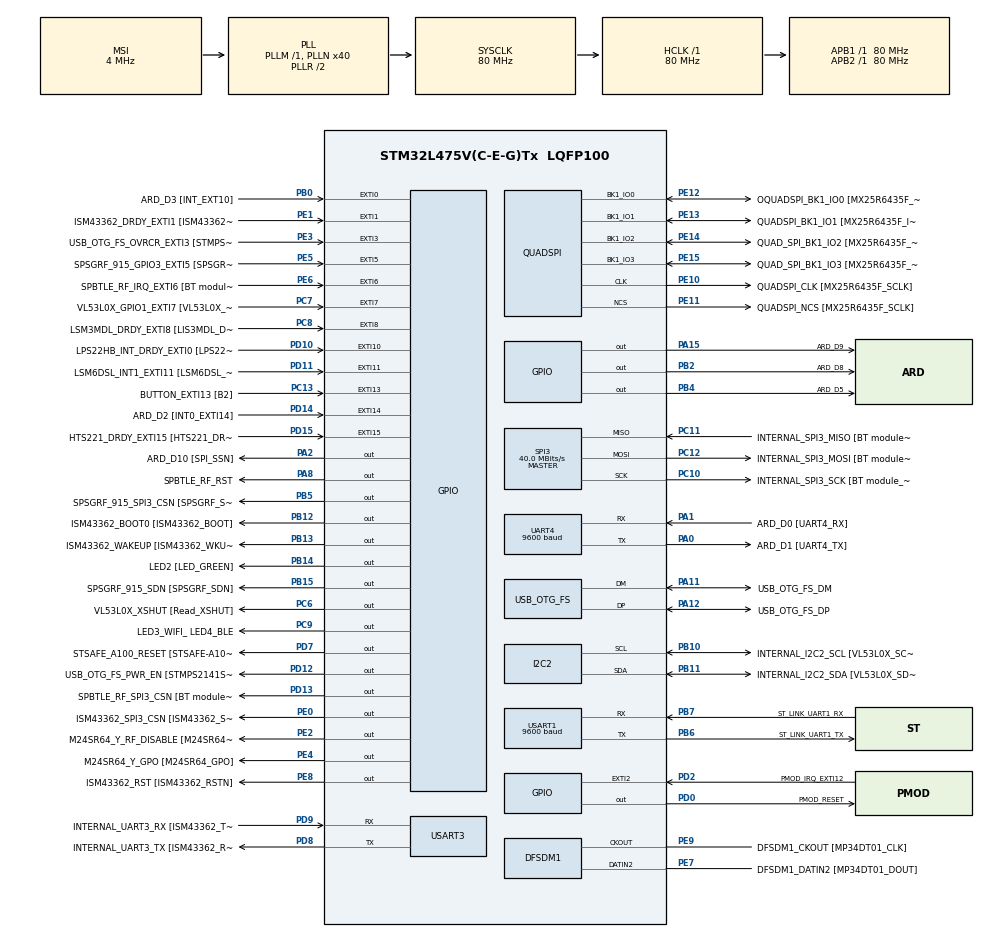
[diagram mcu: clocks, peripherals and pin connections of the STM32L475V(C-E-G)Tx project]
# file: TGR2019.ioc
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Mcu.Family=STM32L4
Mcu.Name=STM32L475V(C-E-G)Tx
Mcu.Package=LQFP100
NVIC.EXTI15_10_IRQn=true\:0\:0\:false\:false\:true\:true
NVIC.EXTI9_5_IRQn=true\:0\:0\:false\:false\:true\:true
NVIC.PriorityGroup=NVIC_PRIORITYGROUP_4
NVIC.TIM6_DAC_IRQn=true\:1\:0\:true\:false\:true\:true
NVIC.UART4_IRQn=true\:2\:0\:true\:false\:true\:true
NVIC.USART1_IRQn=true\:2\:0\:true\:false\:true\:true
PA0.GPIO_Label=ARD_D1 [UART4_TX]
PA0.Mode=Asynchronous
PA0.Signal=UART4_TX
PA1.GPIO_Label=ARD_D0 [UART4_RX]
PA1.Mode=Asynchronous
PA1.Signal=UART4_RX
PA10.GPIO_Label=USB_OTG_FS_ID
PA10.Signal=USB_OTG_FS_ID
PA11.GPIO_Label=USB_OTG_FS_DM
PA11.Mode=Device_Only
PA11.Signal=USB_OTG_FS_DM
PA12.GPIO_Label=USB_OTG_FS_DP
PA12.Mode=Device_Only
PA12.Signal=USB_OTG_FS_DP
PA13\ (JTMS-SWDIO).GPIO_Label=SYS_JTMS_SWDIO
PA13\ (JTMS-SWDIO).Mode=Serial_Wire
PA13\ (JTMS-SWDIO).Signal=SYS_JTMS-SWDIO
PA14\ (JTCK-SWCLK).GPIO_Label=SYS_JTCK_SWCLK
PA14\ (JTCK-SWCLK).Mode=Serial_Wire
PA14\ (JTCK-SWCLK).Signal=SYS_JTCK-SWCLK
PA15\ (JTDI).GPIO_Label=ARD_D9
PA15\ (JTDI).Signal=GPIO_Output
PA2.GPIO_Label=ARD_D10 [SPI_SSN]
PA2.Signal=GPIO_Output
PA3.GPIO_Label=ARD_D4
PA3.Signal=S_TIM2_CH4
PA4.GPIO_Label=ARD_D7
PA4.Signal=ADCx_IN9
PA5.GPIO_Label=ARD_D13 [SPI1_SCK]
PA5.Signal=SPI1_SCK
PA6.GPIO_Label=ARD_D12 [SPI1_MISO]
PA6.Signal=SPI1_MISO
PA7.GPIO_Label=ARD_D11 [SPI1_MOSI]
PA7.Signal=SPI1_MOSI
PA8.GPIO_Label=SPBTLE_RF_RST
PA8.Signal=GPIO_Output
PA9.GPIO_Label=USB_OTG_FS_VBUS [STMPS2141STR_OUT]
PA9.Signal=USB_OTG_FS_VBUS
PB0.GPIO_Label=ARD_D3 [INT_EXT10]
PB0.Signal=GPXTI0
PB1.GPIO_Label=ARD_D6 [ADC1_IN6]
PB1.Signal=ADCx_IN16
PB10.GPIO_Label=INTERNAL_I2C2_SCL [VL53L0X_SCL]
PB10.Mode=I2C
PB10.Signal=I2C2_SCL
PB11.GPIO_Label=INTERNAL_I2C2_SDA [VL53L0X_SDA]
PB11.Mode=I2C
PB11.Signal=I2C2_SDA
PB12.GPIO_Label=ISM43362_BOOT0 [ISM43362_BOOT]
PB12.Signal=GPIO_Output
PB13.GPIO_Label=ISM43362_WAKEUP [ISM43362_WKUP]
PB13.Signal=GPIO_Output
PB14.GPIO_Label=LED2 [LED_GREEN]
PB14.Signal=GPIO_Output
PB15.GPIO_Label=SPSGRF_915_SDN [SPSGRF_SDN]
PB15.Signal=GPIO_Output
PB2.GPIO_Label=ARD_D8
PB2.Signal=GPIO_Output
PB3\ (JTDO-TRACESWO).GPIO_Label=SYS_JTD0_SWO
PB3\ (JTDO-TRACESWO).Signal=SYS_JTDO-SWO
PB4\ (NJTRST).GPIO_Label=ARD_D5
PB4\ (NJTRST).Signal=GPIO_Output
PB5.GPIO_Label=SPSGRF_915_SPI3_CSN [SPSGRF_SPI_CS]
PB5.Signal=GPIO_Output
PB6.GPIO_Label=ST_LINK_UART1_TX
PB6.Mode=Asynchronous
PB6.Signal=USART1_TX
PB7.GPIO_Label=ST_LINK_UART1_RX
PB7.Mode=Asynchronous
PB7.Signal=USART1_RX
PB8.GPIO_Label=ARD_D15 [I2C1_SCL]
PB8.Signal=I2C1_SCL
PB9.GPIO_Label=ARD_D14 [I2C1_SDA]
PB9.Signal=I2C1_SDA
PC0.GPIO_Label=ARD_A5 [ADC]
PC0.Signal=ADCx_IN1
PC1.GPIO_Label=ARD_A4 [ADC]
PC1.Signal=ADCx_IN2
PC10.GPIO_Label=INTERNAL_SPI3_SCK [BT module_SPI_SCLK]
PC10.Mode=Full_Duplex_Master
PC10.Signal=SPI3_SCK
PC11.GPIO_Label=INTERNAL_SPI3_MISO [BT module_SPI_MISO]
PC11.Mode=Full_Duplex_Master
PC11.Signal=SPI3_MISO
PC12.GPIO_Label=INTERNAL_SPI3_MOSI [BT module_SPI_MOSI]
PC12.Mode=Full_Duplex_Master
PC12.Signal=SPI3_MOSI
PC13.GPIO_Label=BUTTON_EXTI13 [B2]
PC13.GPIO_ModeDefaultEXTI=GPIO_MODE_IT_FALLING
PC13.Signal=GPXTI13
PC14-OSC32_IN\ (PC14).Mode=LSE-External-Oscillator
PC14-OSC32_IN\ (PC14).Signal=RCC_OSC32_IN
PC15-OSC32_OUT\ (PC15).Mode=LSE-External-Oscillator
PC15-OSC32_OUT\ (PC15).Signal=RCC_OSC32_OUT
PC2.GPIO_Label=ARD_A3 [ADC]
PC2.Signal=ADCx_IN3
PC3.GPIO_Label=ARD_A2 [ADC]
PC3.Signal=ADCx_IN4
PC4.GPIO_Label=ARD_A1 [ADC]
PC4.Signal=ADCx_IN13
PC5.GPIO_Label=ARD_A0 [ADC]
PC5.Signal=ADCx_IN14
PC6.GPIO_Label=VL53L0X_XSHUT [Read_XSHUT]
PC6.Signal=GPIO_Output
PC7.GPIO_Label=VL53L0X_GPIO1_EXTI7 [VL53L0X_GPIO1]
PC7.Signal=GPXTI7
PC8.GPIO_Label=LSM3MDL_DRDY_EXTI8 [LIS3MDL_DRDY]
PC8.Signal=GPXTI8
PC9.GPIO_Label=LED3_WIFI_ LED4_BLE
PC9.Signal=GPIO_Output
PD0.GPIO_Label=PMOD_RESET
PD0.Signal=GPIO_Output
PD1.GPIO_Label=PMOD_SPI2_SCK
PD1.Signal=SPI2_SCK
PD10.GPIO_Label=LPS22HB_INT_DRDY_EXTI0 [LPS22HB_INT_DRDY] 
PD10.Signal=GPXTI10
PD11.GPIO_Label=LSM6DSL_INT1_EXTI11 [LSM6DSL_INT1]
PD11.Signal=GPXTI11
PD12.GPIO_Label=USB_OTG_FS_PWR_EN [STMPS2141STR_EN]
PD12.Signal=GPIO_Output
PD13.GPIO_Label=SPBTLE_RF_SPI3_CSN [BT module_SPI_CS]
PD13.Signal=GPIO_Output
PD14.GPIO_Label=ARD_D2 [INT0_EXTI14]
PD14.Signal=GPXTI14
PD15.GPIO_Label=HTS221_DRDY_EXTI15 [HTS221_DRDY]
PD15.Signal=GPXTI15
PD2.GPIO_Label=PMOD_IRQ_EXTI12
PD2.Signal=GPXTI2
PD3.GPIO_Label=PMOD_UART2_CTS
PD3.Signal=USART2_CTS
PD4.GPIO_Label=PMOD_UART2_RTS
PD4.Signal=USART2_RTS
PD5.GPIO_Label=PMOD_UART2_TX
PD5.Signal=USART2_TX
PD6.GPIO_Label=PMOD_UART2_RX
PD6.Signal=USART2_RX
PD7.GPIO_Label=STSAFE_A100_RESET [STSAFE-A100_RESET]
PD7.Signal=GPIO_Output
PD8.GPIO_Label=INTERNAL_UART3_TX [ISM43362_RX]
PD8.Mode=Asynchronous
PD8.Signal=USART3_TX
PD9.GPIO_Label=INTERNAL_UART3_RX [ISM43362_TX]
PD9.Mode=Asynchronous
PD9.Signal=USART3_RX
PE0.GPIO_Label=ISM43362_SPI3_CSN [ISM43362_SSN]
PE0.Signal=GPIO_Output
PE1.GPIO_Label=ISM43362_DRDY_EXTI1 [ISM43362_DATARDY]
PE1.Signal=GPXTI1
PE10.GPIO_Label=QUADSPI_CLK [MX25R6435F_SCLK]
PE10.Mode=Single Bank
PE10.Signal=QUADSPI_CLK
PE11.GPIO_Label=QUADSPI_NCS [MX25R6435F_SCLK]
PE11.Mode=Single Bank
PE11.Signal=QUADSPI_NCS
PE12.GPIO_Label=OQUADSPI_BK1_IO0 [MX25R6435F_IO0]
PE12.Mode=Single Bank
PE12.Signal=QUADSPI_BK1_IO0
PE13.GPIO_Label=QUADSPI_BK1_IO1 [MX25R6435F_IO1]
PE13.Mode=Single Bank
PE13.Signal=QUADSPI_BK1_IO1
PE14.GPIO_Label=QUAD_SPI_BK1_IO2 [MX25R6435F_IO2]
PE14.Mode=Single Bank
PE14.Signal=QUADSPI_BK1_IO2
PE15.GPIO_Label=QUAD_SPI_BK1_IO3 [MX25R6435F_IO3]
PE15.Mode=Single Bank
PE15.Signal=QUADSPI_BK1_IO3
PE2.GPIO_Label=M24SR64_Y_RF_DISABLE [M24SR64_RFDIS]
PE2.Signal=GPIO_Output
PE3.GPIO_Label=USB_OTG_FS_OVRCR_EXTI3 [STMPS2141STR_FAULT]
PE3.Signal=GPXTI3
PE4.GPIO_Label=M24SR64_Y_GPO [M24SR64_GPO]
PE4.Signal=GPIO_Output
PE5.GPIO_Label=SPSGRF_915_GPIO3_EXTI5 [SPSGRF_GPIO_3]
PE5.Signal=GPXTI5
PE6.GPIO_Label=SPBTLE_RF_IRQ_EXTI6 [BT module_SPI_IRQ]
PE6.Signal=GPXTI6
PE7.GPIO_Label=DFSDM1_DATIN2 [MP34DT01_DOUT]
PE7.Signal=S_DATAIN2DFSDM1
PE8.GPIO_Label=ISM43362_RST [ISM43362_RSTN]
PE8.Signal=GPIO_Output
PE9.GPIO_Label=DFSDM1_CKOUT [MP34DT01_CLK]
PE9.Signal=S_CKOUTDFSDM1
ProjectManager.HeapSize=0x200
ProjectManager.StackSize=0x400
ProjectManager.TargetToolchain=TrueSTUDIO
RCC.ADCFreq_Value=48000000
RCC.AHBFreq_Value=80000000
RCC.APB1Freq_Value=80000000
RCC.APB1TimFreq_Value=80000000
RCC.APB2Freq_Value=80000000
RCC.APB2TimFreq_Value=80000000
RCC.CortexFreq_Value=80000000
RCC.HCLKFreq_Value=80000000
RCC.HSE_VALUE=8000000
RCC.HSI_VALUE=16000000
RCC.MSI_VALUE=4000000
RCC.PLLN=40
RCC.PLLSAI1N=24
RCC.SYSCLKFreq_VALUE=80000000
RCC.SYSCLKSource=RCC_SYSCLKSOURCE_PLLCLK
RCC.USBFreq_Value=48000000
RCC.VCOOutputFreq_Value=160000000
SH.ADCx_IN1.0=ADC1_IN1
SH.ADCx_IN13.0=ADC1_IN13
SH.ADCx_IN14.0=ADC1_IN14
SH.ADCx_IN16.0=ADC1_IN16
SH.ADCx_IN2.0=ADC1_IN2
SH.ADCx_IN3.0=ADC1_IN3
SH.ADCx_IN4.0=ADC1_IN4
SH.ADCx_IN9.0=ADC1_IN9
SH.S_CKOUTDFSDM1.0=DFSDM1_CKOUT,CKOUT
SH.S_CKOUTDFSDM1.1=DFSDM1_CKOUT,PDM_SPI_Input_from_ch12_and_Internal_Clock
SH.S_DATAIN2DFSDM1.0=DFSDM1_DATIN2,PDM_SPI_Input_from_ch12_and_Internal_Clock
SH.S_TIM2_CH4.0=TIM2_CH4
SPI3.CalculateBaudRate=40.0 MBits/s
SPI3.Direction=SPI_DIRECTION_2LINES
SPI3.Mode=SPI_MODE_MASTER
SPI3.VirtualType=VM_MASTER
TIM6.Period=48000
TIM6.Prescaler=49999
UART4.BaudRate=9600
USART1.BaudRate=9600
USART1.VirtualMode-Asynchronous=VM_ASYNC
USART3.VirtualMode-Asynchronous=VM_ASYNC
USB_OTG_FS.VirtualMode=Device_Only
VP_TIM6_VS_ClockSourceINT.Mode=Enable_Timer
board=B-L475E-IOT01A

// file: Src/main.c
/* USER CODE BEGIN Header */
/**
  ******************************************************************************
  * @file           : main.c
  * @brief          : Main program body
  ******************************************************************************
  ** This notice applies to any and all portions of this file
  * that are not between comment pairs USER CODE BEGIN and
  * USER CODE END. Other portions of this file, whether
  * inserted by the user or by software development tools
  * are owned by their respective copyright owners.
  *
  * COPYRIGHT(c) 2019 STMicroelectronics
  *
  * Redistribution and use in source and binary forms, with or without modification,
  * are permitted provided that the following conditions are met:
  *   1. Redistributions of source code must retain the above copyright notice,
  *      this list of conditions and the following disclaimer.
  *   2. Redistributions in binary form must reproduce the above copyright notice,
  *      this list of conditions and the following disclaimer in the documentation
  *      and/or other materials provided with the distribution.
  *   3. Neither the name of STMicroelectronics nor the names of its contributors
  *      may be used to endorse or promote products derived from this software
  *      without specific prior written permission.
  *
  * THIS SOFTWARE IS PROVIDED BY THE COPYRIGHT HOLDERS AND CONTRIBUTORS "AS IS"
  * AND ANY EXPRESS OR IMPLIED WARRANTIES, INCLUDING, BUT NOT LIMITED TO, THE
  * IMPLIED WARRANTIES OF MERCHANTABILITY AND FITNESS FOR A PARTICULAR PURPOSE ARE
  * DISCLAIMED. IN NO EVENT SHALL THE COPYRIGHT HOLDER OR CONTRIBUTORS BE LIABLE
  * FOR ANY DIRECT, INDIRECT, INCIDENTAL, SPECIAL, EXEMPLARY, OR CONSEQUENTIAL
  * DAMAGES (INCLUDING, BUT NOT LIMITED TO, PROCUREMENT OF SUBSTITUTE GOODS OR
  * SERVICES; LOSS OF USE, DATA, OR PROFITS; OR BUSINESS INTERRUPTION) HOWEVER
  * CAUSED AND ON ANY THEORY OF LIABILITY, WHETHER IN CONTRACT, STRICT LIABILITY,
  * OR TORT (INCLUDING NEGLIGENCE OR OTHERWISE) ARISING IN ANY WAY OUT OF THE USE
  * OF THIS SOFTWARE, EVEN IF ADVISED OF THE POSSIBILITY OF SUCH DAMAGE.
  *
  ******************************************************************************
  */
/* USER CODE END Header */

#include "main.h"

/* USER CODE BEGIN Includes */
#include <stdio.h>
#include "stm32l475e_iot01.h"
#include "stm32l475e_iot01_accelero.h"
#include "stm32l475e_iot01_magneto.h"
#include "stm32l475e_iot01_gyro.h"
#include "stm32l475e_iot01_tsensor.h"
#include "stm32l475e_iot01_psensor.h"
#include "stm32l475e_iot01_hsensor.h"

/* USER CODE END Includes */

/* USER CODE BEGIN PTD */
#include "string.h"
#define LPP_DATATYPE_DIGITAL_INPUT  0x0   //0
#define LPP_DATATYPE_DIGITAL_OUTPUT 0x1   //1

#define LPP_DATATYPE_BAROMETER      0x73  //115
#define LPP_DATATYPE_TEMPERATURE    0x67  //103
#define LPP_DATATYPE_HUMIDITY       0x68  //104

#define LPP_DATATYPE_ACCELEROMETER  0x71  //113
#define LPP_DATATYPE_GYROMETER    	0x86  //134
#define LPP_DATATYPE_ANALOG_INPUT   0x2   //2
/* USER CODE END PTD */

DFSDM_Channel_HandleTypeDef hdfsdm1_channel1;

I2C_HandleTypeDef hi2c2;

QSPI_HandleTypeDef hqspi;

SPI_HandleTypeDef hspi3;

TIM_HandleTypeDef htim6;

UART_HandleTypeDef huart4;
UART_HandleTypeDef huart1;
UART_HandleTypeDef huart3;

PCD_HandleTypeDef hpcd_USB_OTG_FS;

void SystemClock_Config(void);
static void MX_GPIO_Init(void);
static void MX_DFSDM1_Init(void);
static void MX_I2C2_Init(void);
static void MX_QUADSPI_Init(void);
static void MX_SPI3_Init(void);
static void MX_USART1_UART_Init(void);
static void MX_USART3_UART_Init(void);
static void MX_USB_OTG_FS_PCD_Init(void);
static void MX_TIM6_Init(void);
static void MX_UART4_Init(void);
/* USER CODE BEGIN PFP */
static void VL53L0X_PROXIMITY_MspInit(void);
static uint16_t VL53L0X_PROXIMITY_GetDistance(void);
static void VL53L0X_PROXIMITY_Init(void);
/* USER CODE END PFP */

/* USER CODE BEGIN 0 */

extern I2C_HandleTypeDef hI2cHandler;
VL53L0X_Dev_t Dev =
{
  .I2cHandle = &hI2cHandler,
  .I2cDevAddr = PROXIMITY_I2C_ADDRESS
};

extern int PRESSURE;
extern uint16_t HUMIDITY;
extern int16_t TEMPERATURE;

extern int16_t pDataXYZ[3];
extern float pfDataXYZ[3];
extern int16_t pDataXYZ1[3];
extern uint16_t prox_value;
extern uint16_t in_people,out_people;
uint16_t buff_in,buff_out = 0;

/* Private function prototypes -----------------------------------------------*/
//static void VL53L0X_PROXIMITY_MspInit(void);
//static uint16_t VL53L0X_PROXIMITY_GetDistance(void);
//static void VL53L0X_PROXIMITY_Init(void);
/* Private functions ---------------------------------------------------------*/
/* USER CODE END 0 */

int main(void)
{

  /* MCU Configuration--------------------------------------------------------*/

  /* Reset of all peripherals, Initializes the Flash interface and the Systick. */
  HAL_Init();

  /* Configure the system clock */
  SystemClock_Config();

  /* Initialize all configured peripherals */
  MX_GPIO_Init();
  MX_DFSDM1_Init();
  MX_I2C2_Init();
  MX_QUADSPI_Init();
  MX_SPI3_Init();
  MX_USART1_UART_Init();
  MX_USART3_UART_Init();
  MX_USB_OTG_FS_PCD_Init();
  MX_TIM6_Init();
  MX_UART4_Init();
  /* USER CODE BEGIN 2 */

  BSP_PSENSOR_Init();
  BSP_ACCELERO_Init();
  BSP_TSENSOR_Init();
  BSP_GYRO_Init();
  BSP_MAGNETO_Init();
  BSP_HSENSOR_Init();
  VL53L0X_PROXIMITY_Init();

//  HAL_Sleep(1000);

  HAL_TIM_Base_Start_IT(&htim6);
  __HAL_UART_ENABLE_IT(&huart1,UART_IT_RXNE);

  HAL_Delay(1000);
  HAL_UART_Transmit(&huart4,"AT+NJM=?\n\r", 9,1000); // huart4
  HAL_Delay(1000);
  HAL_UART_Transmit(&huart4,"AT+NJM=1\n\r", 9,1000); // huart4
  HAL_Delay(1000);
  HAL_UART_Transmit(&huart4,"AT+NJM=?\n\r", 9,1000); // huart4
  HAL_Delay(1000);
  HAL_UART_Transmit(&huart4,"AT+JOIN\n\r", 9,1000); // huart4
  HAL_Delay(5000);
  HAL_UART_Transmit(&huart4,"AT+NJS=?\n\r", 9,1000); // huart4
  HAL_Delay(2000);
  HAL_UART_Transmit(&huart4,"AT+NJS=?\n\r", 9,1000); // huart4
  HAL_Delay(1000);

  /* USER CODE END 2 */

  /* Infinite loop */
  /* USER CODE BEGIN WHILE */
  for(uint8_t i = 0 ; i < 4 ; i++){
	  GPIOC->BSRR = 0x200;
	  HAL_Delay(25);
	  GPIOC->BRR = 0x200;
	  HAL_Delay(25);
  }

  while (1)
  {
    /* USER CODE END WHILE */

    /* USER CODE BEGIN 3 */

	  PRESSURE = BSP_PSENSOR_ReadPressure()*10;
	  HUMIDITY = BSP_HSENSOR_ReadHumidity();
	  TEMPERATURE = BSP_TSENSOR_ReadTemp()*10;

	  BSP_ACCELERO_AccGetXYZ(pDataXYZ);
	  BSP_GYRO_GetXYZ(pfDataXYZ);
	  BSP_MAGNETO_GetXYZ(pDataXYZ1);

      prox_value = VL53L0X_PROXIMITY_GetDistance();

      if(prox_value > 67 && prox_value < 140){
		  while(prox_value < 800){
			  prox_value = VL53L0X_PROXIMITY_GetDistance();
			  GPIOB->BSRR = 0x4000;
		  }
		  in_people+=100;
      }else if(prox_value > 360 && prox_value < 430){
		  while(prox_value < 800){
			  prox_value = VL53L0X_PROXIMITY_GetDistance();
			  GPIOB->BSRR = 0x4000;
			  HAL_Delay(25);
			  GPIOB->BRR  = 0x4000;
			  HAL_Delay(25);
			  GPIOB->BSRR = 0x4000;
			  HAL_Delay(25);
			  GPIOB->BRR  = 0x4000;
			  HAL_Delay(25);

		  }
		  out_people+=100;
      }else if(prox_value > 800){
		  GPIOB->BRR  = 0x4000;

      }

//      if(buff_in > 5){
//    	  in_people++;
//    	  buff_in = 0;
//
//      }
//
//      if(buff_out > 5){
//    	  out_people++;
//    	  buff_out = 0;
//
//      }

      char str1[10];
//	  sprintf(str,"%.2f#%.2f#%.2f#%d#%d#%d#%.2f#%.2f#%.2f#%d#%d#%d#%d\n\r",PRESSURE,HUMIDITY,TEMPERATURE,pDataXYZ[0],pDataXYZ[1],pDataXYZ[2],pfDataXYZ[0],pfDataXYZ[1],pfDataXYZ[2],pDataXYZ1[0],pDataXYZ1[1],pDataXYZ1[2],prox_value);
//	  HAL_UART_Transmit(&huart1,str, strlen(str),1000); // huart4
      sprintf(str1,"prox = %d , in = %d , out = %d \n\r",prox_value,in_people,out_people);
      HAL_UART_Transmit(&huart1,str1, strlen(str1),1000);

//      sprintf(str,"AT+SENDB=99:0067%04x0168%02x0202%04x0302%04x\n\r",(int16_t)TEMPERATURE,(uint16_t)HUMIDITY,(uint16_t)in_people,(uint16_t)out_people);
////      sprintf(str1,"%d\n\r",TEMPERATURE*10);
//
//      HAL_UART_Transmit(&huart1,str, strlen(str),1000); // huart4
//      HAL_UART_Transmit(&huart4,str, strlen(str),1000); // huart4
//
//
//      HAL_Delay(2000);
//
//      HAL_UART_Transmit(&huart4,"AT\n\r", 5,1000);
//      HAL_Delay(2000);
//      HAL_UART_Transmit(&huart1,str, strlen(str),1000); // huart4
//      HAL_UART_Transmit(&huart4,str, strlen(str),1000); // huart4

  }
  /* USER CODE END 3 */
}

void SystemClock_Config(void)
{
  RCC_OscInitTypeDef RCC_OscInitStruct = {0};
  RCC_ClkInitTypeDef RCC_ClkInitStruct = {0};
  RCC_PeriphCLKInitTypeDef PeriphClkInit = {0};

  /**Configure LSE Drive Capability
  */
  HAL_PWR_EnableBkUpAccess();
  __HAL_RCC_LSEDRIVE_CONFIG(RCC_LSEDRIVE_LOW);
  /**Initializes the CPU, AHB and APB busses clocks
  */
  RCC_OscInitStruct.OscillatorType = RCC_OSCILLATORTYPE_LSE|RCC_OSCILLATORTYPE_MSI;
  RCC_OscInitStruct.LSEState = RCC_LSE_ON;
  RCC_OscInitStruct.MSIState = RCC_MSI_ON;
  RCC_OscInitStruct.MSICalibrationValue = 0;
  RCC_OscInitStruct.MSIClockRange = RCC_MSIRANGE_6;
  RCC_OscInitStruct.PLL.PLLState = RCC_PLL_ON;
  RCC_OscInitStruct.PLL.PLLSource = RCC_PLLSOURCE_MSI;
  RCC_OscInitStruct.PLL.PLLM = 1;
  RCC_OscInitStruct.PLL.PLLN = 40;
  RCC_OscInitStruct.PLL.PLLP = RCC_PLLP_DIV7;
  RCC_OscInitStruct.PLL.PLLQ = RCC_PLLQ_DIV2;
  RCC_OscInitStruct.PLL.PLLR = RCC_PLLR_DIV2;
  if (HAL_RCC_OscConfig(&RCC_OscInitStruct) != HAL_OK)
  {
    Error_Handler();
  }
  /**Initializes the CPU, AHB and APB busses clocks
  */
  RCC_ClkInitStruct.ClockType = RCC_CLOCKTYPE_HCLK|RCC_CLOCKTYPE_SYSCLK
                              |RCC_CLOCKTYPE_PCLK1|RCC_CLOCKTYPE_PCLK2;
  RCC_ClkInitStruct.SYSCLKSource = RCC_SYSCLKSOURCE_PLLCLK;
  RCC_ClkInitStruct.AHBCLKDivider = RCC_SYSCLK_DIV1;
  RCC_ClkInitStruct.APB1CLKDivider = RCC_HCLK_DIV1;
  RCC_ClkInitStruct.APB2CLKDivider = RCC_HCLK_DIV1;

  if (HAL_RCC_ClockConfig(&RCC_ClkInitStruct, FLASH_LATENCY_4) != HAL_OK)
  {
    Error_Handler();
  }
  PeriphClkInit.PeriphClockSelection = RCC_PERIPHCLK_USART1|RCC_PERIPHCLK_USART3
                              |RCC_PERIPHCLK_UART4|RCC_PERIPHCLK_I2C2
                              |RCC_PERIPHCLK_DFSDM1|RCC_PERIPHCLK_USB;
  PeriphClkInit.Usart1ClockSelection = RCC_USART1CLKSOURCE_PCLK2;
  PeriphClkInit.Usart3ClockSelection = RCC_USART3CLKSOURCE_PCLK1;
  PeriphClkInit.Uart4ClockSelection = RCC_UART4CLKSOURCE_PCLK1;
  PeriphClkInit.I2c2ClockSelection = RCC_I2C2CLKSOURCE_PCLK1;
  PeriphClkInit.Dfsdm1ClockSelection = RCC_DFSDM1CLKSOURCE_PCLK;
  PeriphClkInit.UsbClockSelection = RCC_USBCLKSOURCE_PLLSAI1;
  PeriphClkInit.PLLSAI1.PLLSAI1Source = RCC_PLLSOURCE_MSI;
  PeriphClkInit.PLLSAI1.PLLSAI1M = 1;
  PeriphClkInit.PLLSAI1.PLLSAI1N = 24;
  PeriphClkInit.PLLSAI1.PLLSAI1P = RCC_PLLP_DIV7;
  PeriphClkInit.PLLSAI1.PLLSAI1Q = RCC_PLLQ_DIV2;
  PeriphClkInit.PLLSAI1.PLLSAI1R = RCC_PLLR_DIV2;
  PeriphClkInit.PLLSAI1.PLLSAI1ClockOut = RCC_PLLSAI1_48M2CLK;
  if (HAL_RCCEx_PeriphCLKConfig(&PeriphClkInit) != HAL_OK)
  {
    Error_Handler();
  }
  /**Configure the main internal regulator output voltage
  */
  if (HAL_PWREx_ControlVoltageScaling(PWR_REGULATOR_VOLTAGE_SCALE1) != HAL_OK)
  {
    Error_Handler();
  }
  /**Enable MSI Auto calibration
  */
  HAL_RCCEx_EnableMSIPLLMode();
}

static void MX_DFSDM1_Init(void)
{

  hdfsdm1_channel1.Instance = DFSDM1_Channel1;
  hdfsdm1_channel1.Init.OutputClock.Activation = ENABLE;
  hdfsdm1_channel1.Init.OutputClock.Selection = DFSDM_CHANNEL_OUTPUT_CLOCK_SYSTEM;
  hdfsdm1_channel1.Init.OutputClock.Divider = 2;
  hdfsdm1_channel1.Init.Input.Multiplexer = DFSDM_CHANNEL_EXTERNAL_INPUTS;
  hdfsdm1_channel1.Init.Input.DataPacking = DFSDM_CHANNEL_STANDARD_MODE;
  hdfsdm1_channel1.Init.Input.Pins = DFSDM_CHANNEL_FOLLOWING_CHANNEL_PINS;
  hdfsdm1_channel1.Init.SerialInterface.Type = DFSDM_CHANNEL_SPI_RISING;
  hdfsdm1_channel1.Init.SerialInterface.SpiClock = DFSDM_CHANNEL_SPI_CLOCK_INTERNAL;
  hdfsdm1_channel1.Init.Awd.FilterOrder = DFSDM_CHANNEL_FASTSINC_ORDER;
  hdfsdm1_channel1.Init.Awd.Oversampling = 1;
  hdfsdm1_channel1.Init.Offset = 0;
  hdfsdm1_channel1.Init.RightBitShift = 0x00;
  if (HAL_DFSDM_ChannelInit(&hdfsdm1_channel1) != HAL_OK)
  {
    Error_Handler();
  }

}

static void MX_I2C2_Init(void)
{

  hi2c2.Instance = I2C2;
  hi2c2.Init.Timing = 0x10909CEC;
  hi2c2.Init.OwnAddress1 = 0;
  hi2c2.Init.AddressingMode = I2C_ADDRESSINGMODE_7BIT;
  hi2c2.Init.DualAddressMode = I2C_DUALADDRESS_DISABLE;
  hi2c2.Init.OwnAddress2 = 0;
  hi2c2.Init.OwnAddress2Masks = I2C_OA2_NOMASK;
  hi2c2.Init.GeneralCallMode = I2C_GENERALCALL_DISABLE;
  hi2c2.Init.NoStretchMode = I2C_NOSTRETCH_DISABLE;
  if (HAL_I2C_Init(&hi2c2) != HAL_OK)
  {
    Error_Handler();
  }
  /**Configure Analogue filter
  */
  if (HAL_I2CEx_ConfigAnalogFilter(&hi2c2, I2C_ANALOGFILTER_ENABLE) != HAL_OK)
  {
    Error_Handler();
  }
  /**Configure Digital filter
  */
  if (HAL_I2CEx_ConfigDigitalFilter(&hi2c2, 0) != HAL_OK)
  {
    Error_Handler();
  }

}

static void MX_QUADSPI_Init(void)
{

  /* QUADSPI parameter configuration*/
  hqspi.Instance = QUADSPI;
  hqspi.Init.ClockPrescaler = 255;
  hqspi.Init.FifoThreshold = 1;
  hqspi.Init.SampleShifting = QSPI_SAMPLE_SHIFTING_NONE;
  hqspi.Init.FlashSize = 1;
  hqspi.Init.ChipSelectHighTime = QSPI_CS_HIGH_TIME_1_CYCLE;
  hqspi.Init.ClockMode = QSPI_CLOCK_MODE_0;
  if (HAL_QSPI_Init(&hqspi) != HAL_OK)
  {
    Error_Handler();
  }

}

static void MX_SPI3_Init(void)
{

  /* SPI3 parameter configuration*/
  hspi3.Instance = SPI3;
  hspi3.Init.Mode = SPI_MODE_MASTER;
  hspi3.Init.Direction = SPI_DIRECTION_2LINES;
  hspi3.Init.DataSize = SPI_DATASIZE_4BIT;
  hspi3.Init.CLKPolarity = SPI_POLARITY_LOW;
  hspi3.Init.CLKPhase = SPI_PHASE_1EDGE;
  hspi3.Init.NSS = SPI_NSS_SOFT;
  hspi3.Init.BaudRatePrescaler = SPI_BAUDRATEPRESCALER_2;
  hspi3.Init.FirstBit = SPI_FIRSTBIT_MSB;
  hspi3.Init.TIMode = SPI_TIMODE_DISABLE;
  hspi3.Init.CRCCalculation = SPI_CRCCALCULATION_DISABLE;
  hspi3.Init.CRCPolynomial = 7;
  hspi3.Init.CRCLength = SPI_CRC_LENGTH_DATASIZE;
  hspi3.Init.NSSPMode = SPI_NSS_PULSE_ENABLE;
  if (HAL_SPI_Init(&hspi3) != HAL_OK)
  {
    Error_Handler();
  }

}

static void MX_TIM6_Init(void)
{

  TIM_MasterConfigTypeDef sMasterConfig = {0};

  htim6.Instance = TIM6;
  htim6.Init.Prescaler = 49999;
  htim6.Init.CounterMode = TIM_COUNTERMODE_UP;
  htim6.Init.Period = 48000;
  htim6.Init.AutoReloadPreload = TIM_AUTORELOAD_PRELOAD_DISABLE;
  if (HAL_TIM_Base_Init(&htim6) != HAL_OK)
  {
    Error_Handler();
  }
  sMasterConfig.MasterOutputTrigger = TIM_TRGO_RESET;
  sMasterConfig.MasterSlaveMode = TIM_MASTERSLAVEMODE_DISABLE;
  if (HAL_TIMEx_MasterConfigSynchronization(&htim6, &sMasterConfig) != HAL_OK)
  {
    Error_Handler();
  }

}

static void MX_UART4_Init(void)
{

  huart4.Instance = UART4;
  huart4.Init.BaudRate = 9600;
  huart4.Init.WordLength = UART_WORDLENGTH_8B;
  huart4.Init.StopBits = UART_STOPBITS_1;
  huart4.Init.Parity = UART_PARITY_NONE;
  huart4.Init.Mode = UART_MODE_TX_RX;
  huart4.Init.HwFlowCtl = UART_HWCONTROL_NONE;
  huart4.Init.OverSampling = UART_OVERSAMPLING_16;
  huart4.Init.OneBitSampling = UART_ONE_BIT_SAMPLE_DISABLE;
  huart4.AdvancedInit.AdvFeatureInit = UART_ADVFEATURE_NO_INIT;
  if (HAL_UART_Init(&huart4) != HAL_OK)
  {
    Error_Handler();
  }

}

static void MX_USART1_UART_Init(void)
{

  huart1.Instance = USART1;
  huart1.Init.BaudRate = 9600;
  huart1.Init.WordLength = UART_WORDLENGTH_8B;
  huart1.Init.StopBits = UART_STOPBITS_1;
  huart1.Init.Parity = UART_PARITY_NONE;
  huart1.Init.Mode = UART_MODE_TX_RX;
  huart1.Init.HwFlowCtl = UART_HWCONTROL_NONE;
  huart1.Init.OverSampling = UART_OVERSAMPLING_16;
  huart1.Init.OneBitSampling = UART_ONE_BIT_SAMPLE_DISABLE;
  huart1.AdvancedInit.AdvFeatureInit = UART_ADVFEATURE_NO_INIT;
  if (HAL_UART_Init(&huart1) != HAL_OK)
  {
    Error_Handler();
  }

}

static void MX_USART3_UART_Init(void)
{

  huart3.Instance = USART3;
  huart3.Init.BaudRate = 115200;
  huart3.Init.WordLength = UART_WORDLENGTH_8B;
  huart3.Init.StopBits = UART_STOPBITS_1;
  huart3.Init.Parity = UART_PARITY_NONE;
  huart3.Init.Mode = UART_MODE_TX_RX;
  huart3.Init.HwFlowCtl = UART_HWCONTROL_NONE;
  huart3.Init.OverSampling = UART_OVERSAMPLING_16;
  huart3.Init.OneBitSampling = UART_ONE_BIT_SAMPLE_DISABLE;
  huart3.AdvancedInit.AdvFeatureInit = UART_ADVFEATURE_NO_INIT;
  if (HAL_UART_Init(&huart3) != HAL_OK)
  {
    Error_Handler();
  }

}

static void MX_USB_OTG_FS_PCD_Init(void)
{

  hpcd_USB_OTG_FS.Instance = USB_OTG_FS;
  hpcd_USB_OTG_FS.Init.dev_endpoints = 6;
  hpcd_USB_OTG_FS.Init.speed = PCD_SPEED_FULL;
  hpcd_USB_OTG_FS.Init.ep0_mps = DEP0CTL_MPS_64;
  hpcd_USB_OTG_FS.Init.phy_itface = PCD_PHY_EMBEDDED;
  hpcd_USB_OTG_FS.Init.Sof_enable = DISABLE;
  hpcd_USB_OTG_FS.Init.low_power_enable = DISABLE;
  hpcd_USB_OTG_FS.Init.lpm_enable = DISABLE;
  hpcd_USB_OTG_FS.Init.battery_charging_enable = DISABLE;
  hpcd_USB_OTG_FS.Init.use_dedicated_ep1 = DISABLE;
  hpcd_USB_OTG_FS.Init.vbus_sensing_enable = DISABLE;
  if (HAL_PCD_Init(&hpcd_USB_OTG_FS) != HAL_OK)
  {
    Error_Handler();
  }

}

static void MX_GPIO_Init(void)
{
  GPIO_InitTypeDef GPIO_InitStruct = {0};

  /* GPIO Ports Clock Enable */
  __HAL_RCC_GPIOE_CLK_ENABLE();
  __HAL_RCC_GPIOC_CLK_ENABLE();
  __HAL_RCC_GPIOA_CLK_ENABLE();
  __HAL_RCC_GPIOB_CLK_ENABLE();
  __HAL_RCC_GPIOD_CLK_ENABLE();

  /*Configure GPIO pin Output Level */
  HAL_GPIO_WritePin(GPIOE, M24SR64_Y_RF_DISABLE_Pin|M24SR64_Y_GPO_Pin|ISM43362_RST_Pin|ISM43362_SPI3_CSN_Pin, GPIO_PIN_RESET);

  /*Configure GPIO pin Output Level */
  HAL_GPIO_WritePin(GPIOA, ARD_D10_Pin|SPBTLE_RF_RST_Pin|ARD_D9_Pin, GPIO_PIN_RESET);

  /*Configure GPIO pin Output Level */
  HAL_GPIO_WritePin(GPIOB, ARD_D8_Pin|ISM43362_BOOT0_Pin|ISM43362_WAKEUP_Pin|LED2_Pin
                          |SPSGRF_915_SDN_Pin|ARD_D5_Pin|SPSGRF_915_SPI3_CSN_Pin, GPIO_PIN_RESET);

  /*Configure GPIO pin Output Level */
  HAL_GPIO_WritePin(GPIOD, USB_OTG_FS_PWR_EN_Pin|SPBTLE_RF_SPI3_CSN_Pin|PMOD_RESET_Pin|STSAFE_A100_RESET_Pin, GPIO_PIN_RESET);

  /*Configure GPIO pin Output Level */
  HAL_GPIO_WritePin(GPIOC, VL53L0X_XSHUT_Pin|LED3_WIFI__LED4_BLE_Pin, GPIO_PIN_RESET);

  /*Configure GPIO pins : M24SR64_Y_RF_DISABLE_Pin M24SR64_Y_GPO_Pin ISM43362_RST_Pin ISM43362_SPI3_CSN_Pin */
  GPIO_InitStruct.Pin = M24SR64_Y_RF_DISABLE_Pin|M24SR64_Y_GPO_Pin|ISM43362_RST_Pin|ISM43362_SPI3_CSN_Pin;
  GPIO_InitStruct.Mode = GPIO_MODE_OUTPUT_PP;
  GPIO_InitStruct.Pull = GPIO_NOPULL;
  GPIO_InitStruct.Speed = GPIO_SPEED_FREQ_LOW;
  HAL_GPIO_Init(GPIOE, &GPIO_InitStruct);

  /*Configure GPIO pins : USB_OTG_FS_OVRCR_EXTI3_Pin SPSGRF_915_GPIO3_EXTI5_Pin SPBTLE_RF_IRQ_EXTI6_Pin ISM43362_DRDY_EXTI1_Pin */
  GPIO_InitStruct.Pin = USB_OTG_FS_OVRCR_EXTI3_Pin|SPSGRF_915_GPIO3_EXTI5_Pin|SPBTLE_RF_IRQ_EXTI6_Pin|ISM43362_DRDY_EXTI1_Pin;
  GPIO_InitStruct.Mode = GPIO_MODE_IT_RISING;
  GPIO_InitStruct.Pull = GPIO_NOPULL;
  HAL_GPIO_Init(GPIOE, &GPIO_InitStruct);

  /*Configure GPIO pin : BUTTON_EXTI13_Pin */
  GPIO_InitStruct.Pin = BUTTON_EXTI13_Pin;
  GPIO_InitStruct.Mode = GPIO_MODE_IT_FALLING;
  GPIO_InitStruct.Pull = GPIO_NOPULL;
  HAL_GPIO_Init(BUTTON_EXTI13_GPIO_Port, &GPIO_InitStruct);

  /*Configure GPIO pins : ARD_A5_Pin ARD_A4_Pin ARD_A3_Pin ARD_A2_Pin
                           ARD_A1_Pin ARD_A0_Pin */
  GPIO_InitStruct.Pin = ARD_A5_Pin|ARD_A4_Pin|ARD_A3_Pin|ARD_A2_Pin
                          |ARD_A1_Pin|ARD_A0_Pin;
  GPIO_InitStruct.Mode = GPIO_MODE_ANALOG_ADC_CONTROL;
  GPIO_InitStruct.Pull = GPIO_NOPULL;
  HAL_GPIO_Init(GPIOC, &GPIO_InitStruct);

  /*Configure GPIO pins : ARD_D10_Pin SPBTLE_RF_RST_Pin ARD_D9_Pin */
  GPIO_InitStruct.Pin = ARD_D10_Pin|SPBTLE_RF_RST_Pin|ARD_D9_Pin;
  GPIO_InitStruct.Mode = GPIO_MODE_OUTPUT_PP;
  GPIO_InitStruct.Pull = GPIO_NOPULL;
  GPIO_InitStruct.Speed = GPIO_SPEED_FREQ_LOW;
  HAL_GPIO_Init(GPIOA, &GPIO_InitStruct);

  /*Configure GPIO pin : ARD_D4_Pin */
  GPIO_InitStruct.Pin = ARD_D4_Pin;
  GPIO_InitStruct.Mode = GPIO_MODE_AF_PP;
  GPIO_InitStruct.Pull = GPIO_NOPULL;
  GPIO_InitStruct.Speed = GPIO_SPEED_FREQ_LOW;
  GPIO_InitStruct.Alternate = GPIO_AF1_TIM2;
  HAL_GPIO_Init(ARD_D4_GPIO_Port, &GPIO_InitStruct);

  /*Configure GPIO pin : ARD_D7_Pin */
  GPIO_InitStruct.Pin = ARD_D7_Pin;
  GPIO_InitStruct.Mode = GPIO_MODE_ANALOG_ADC_CONTROL;
  GPIO_InitStruct.Pull = GPIO_NOPULL;
  HAL_GPIO_Init(ARD_D7_GPIO_Port, &GPIO_InitStruct);

  /*Configure GPIO pins : ARD_D13_Pin ARD_D12_Pin ARD_D11_Pin */
  GPIO_InitStruct.Pin = ARD_D13_Pin|ARD_D12_Pin|ARD_D11_Pin;
  GPIO_InitStruct.Mode = GPIO_MODE_AF_PP;
  GPIO_InitStruct.Pull = GPIO_NOPULL;
  GPIO_InitStruct.Speed = GPIO_SPEED_FREQ_VERY_HIGH;
  GPIO_InitStruct.Alternate = GPIO_AF5_SPI1;
  HAL_GPIO_Init(GPIOA, &GPIO_InitStruct);

  /*Configure GPIO pin : ARD_D3_Pin */
  GPIO_InitStruct.Pin = ARD_D3_Pin;
  GPIO_InitStruct.Mode = GPIO_MODE_IT_RISING;
  GPIO_InitStruct.Pull = GPIO_NOPULL;
  HAL_GPIO_Init(ARD_D3_GPIO_Port, &GPIO_InitStruct);

  /*Configure GPIO pin : ARD_D6_Pin */
  GPIO_InitStruct.Pin = ARD_D6_Pin;
  GPIO_InitStruct.Mode = GPIO_MODE_ANALOG_ADC_CONTROL;
  GPIO_InitStruct.Pull = GPIO_NOPULL;
  HAL_GPIO_Init(ARD_D6_GPIO_Port, &GPIO_InitStruct);

  /*Configure GPIO pins : ARD_D8_Pin ISM43362_BOOT0_Pin ISM43362_WAKEUP_Pin LED2_Pin
                           SPSGRF_915_SDN_Pin ARD_D5_Pin SPSGRF_915_SPI3_CSN_Pin */
  GPIO_InitStruct.Pin = ARD_D8_Pin|ISM43362_BOOT0_Pin|ISM43362_WAKEUP_Pin|LED2_Pin
                          |SPSGRF_915_SDN_Pin|ARD_D5_Pin|SPSGRF_915_SPI3_CSN_Pin;
  GPIO_InitStruct.Mode = GPIO_MODE_OUTPUT_PP;
  GPIO_InitStruct.Pull = GPIO_NOPULL;
  GPIO_InitStruct.Speed = GPIO_SPEED_FREQ_LOW;
  HAL_GPIO_Init(GPIOB, &GPIO_InitStruct);

  /*Configure GPIO pins : LPS22HB_INT_DRDY_EXTI0_Pin LSM6DSL_INT1_EXTI11_Pin ARD_D2_Pin HTS221_DRDY_EXTI15_Pin
                           PMOD_IRQ_EXTI12_Pin */
  GPIO_InitStruct.Pin = LPS22HB_INT_DRDY_EXTI0_Pin|LSM6DSL_INT1_EXTI11_Pin|ARD_D2_Pin|HTS221_DRDY_EXTI15_Pin
                          |PMOD_IRQ_EXTI12_Pin;
  GPIO_InitStruct.Mode = GPIO_MODE_IT_RISING;
  GPIO_InitStruct.Pull = GPIO_NOPULL;
  HAL_GPIO_Init(GPIOD, &GPIO_InitStruct);

  /*Configure GPIO pins : USB_OTG_FS_PWR_EN_Pin SPBTLE_RF_SPI3_CSN_Pin PMOD_RESET_Pin STSAFE_A100_RESET_Pin */
  GPIO_InitStruct.Pin = USB_OTG_FS_PWR_EN_Pin|SPBTLE_RF_SPI3_CSN_Pin|PMOD_RESET_Pin|STSAFE_A100_RESET_Pin;
  GPIO_InitStruct.Mode = GPIO_MODE_OUTPUT_PP;
  GPIO_InitStruct.Pull = GPIO_NOPULL;
  GPIO_InitStruct.Speed = GPIO_SPEED_FREQ_LOW;
  HAL_GPIO_Init(GPIOD, &GPIO_InitStruct);

  /*Configure GPIO pins : VL53L0X_XSHUT_Pin LED3_WIFI__LED4_BLE_Pin */
  GPIO_InitStruct.Pin = VL53L0X_XSHUT_Pin|LED3_WIFI__LED4_BLE_Pin;
  GPIO_InitStruct.Mode = GPIO_MODE_OUTPUT_PP;
  GPIO_InitStruct.Pull = GPIO_NOPULL;
  GPIO_InitStruct.Speed = GPIO_SPEED_FREQ_LOW;
  HAL_GPIO_Init(GPIOC, &GPIO_InitStruct);

  /*Configure GPIO pins : VL53L0X_GPIO1_EXTI7_Pin LSM3MDL_DRDY_EXTI8_Pin */
  GPIO_InitStruct.Pin = VL53L0X_GPIO1_EXTI7_Pin|LSM3MDL_DRDY_EXTI8_Pin;
  GPIO_InitStruct.Mode = GPIO_MODE_IT_RISING;
  GPIO_InitStruct.Pull = GPIO_NOPULL;
  HAL_GPIO_Init(GPIOC, &GPIO_InitStruct);

  /*Configure GPIO pin : PMOD_SPI2_SCK_Pin */
  GPIO_InitStruct.Pin = PMOD_SPI2_SCK_Pin;
  GPIO_InitStruct.Mode = GPIO_MODE_AF_PP;
  GPIO_InitStruct.Pull = GPIO_NOPULL;
  GPIO_InitStruct.Speed = GPIO_SPEED_FREQ_VERY_HIGH;
  GPIO_InitStruct.Alternate = GPIO_AF5_SPI2;
  HAL_GPIO_Init(PMOD_SPI2_SCK_GPIO_Port, &GPIO_InitStruct);

  /*Configure GPIO pins : PMOD_UART2_CTS_Pin PMOD_UART2_RTS_Pin PMOD_UART2_TX_Pin PMOD_UART2_RX_Pin */
  GPIO_InitStruct.Pin = PMOD_UART2_CTS_Pin|PMOD_UART2_RTS_Pin|PMOD_UART2_TX_Pin|PMOD_UART2_RX_Pin;
  GPIO_InitStruct.Mode = GPIO_MODE_AF_PP;
  GPIO_InitStruct.Pull = GPIO_NOPULL;
  GPIO_InitStruct.Speed = GPIO_SPEED_FREQ_VERY_HIGH;
  GPIO_InitStruct.Alternate = GPIO_AF7_USART2;
  HAL_GPIO_Init(GPIOD, &GPIO_InitStruct);

  /*Configure GPIO pins : ARD_D15_Pin ARD_D14_Pin */
  GPIO_InitStruct.Pin = ARD_D15_Pin|ARD_D14_Pin;
  GPIO_InitStruct.Mode = GPIO_MODE_AF_OD;
  GPIO_InitStruct.Pull = GPIO_PULLUP;
  GPIO_InitStruct.Speed = GPIO_SPEED_FREQ_VERY_HIGH;
  GPIO_InitStruct.Alternate = GPIO_AF4_I2C1;
  HAL_GPIO_Init(GPIOB, &GPIO_InitStruct);

  /* EXTI interrupt init*/
  HAL_NVIC_SetPriority(EXTI9_5_IRQn, 0, 0);
  HAL_NVIC_EnableIRQ(EXTI9_5_IRQn);

  HAL_NVIC_SetPriority(EXTI15_10_IRQn, 0, 0);
  HAL_NVIC_EnableIRQ(EXTI15_10_IRQn);

}

/* USER CODE BEGIN 4 */
static void VL53L0X_PROXIMITY_Init(void)
{
  uint16_t vl53l0x_id = 0;
  VL53L0X_DeviceInfo_t VL53L0X_DeviceInfo;

  /* Initialize IO interface */
  SENSOR_IO_Init();
  VL53L0X_PROXIMITY_MspInit();

  memset(&VL53L0X_DeviceInfo, 0, sizeof(VL53L0X_DeviceInfo_t));

  if (VL53L0X_ERROR_NONE == VL53L0X_GetDeviceInfo(&Dev, &VL53L0X_DeviceInfo))
  {
    if (VL53L0X_ERROR_NONE == VL53L0X_RdWord(&Dev, VL53L0X_REG_IDENTIFICATION_MODEL_ID, (uint16_t *) &vl53l0x_id))
    {
      if (vl53l0x_id == VL53L0X_ID)
      {
        if (VL53L0X_ERROR_NONE == VL53L0X_DataInit(&Dev))
        {
          Dev.Present = 1;
          SetupSingleShot(Dev);
        }
        else
        {
//          printf("VL53L0X Time of Flight Failed to send its ID!\n\r");
        }
      }
    }
    else
    {
//      printf("VL53L0X Time of Flight Failed to Initialize!\n\r");
    }
  }
  else
  {
//    printf("VL53L0X Time of Flight Failed to get infos!\n\r");
  }
}

static uint16_t VL53L0X_PROXIMITY_GetDistance(void)
{
  VL53L0X_RangingMeasurementData_t RangingMeasurementData;

  VL53L0X_PerformSingleRangingMeasurement(&Dev, &RangingMeasurementData);

  return RangingMeasurementData.RangeMilliMeter;
}

static void VL53L0X_PROXIMITY_MspInit(void)
{
  GPIO_InitTypeDef GPIO_InitStruct;

  /*Configure GPIO pin : VL53L0X_XSHUT_Pin */
  GPIO_InitStruct.Pin = VL53L0X_XSHUT_Pin;
  GPIO_InitStruct.Mode = GPIO_MODE_OUTPUT_PP;
  GPIO_InitStruct.Pull = GPIO_PULLUP;
  GPIO_InitStruct.Speed = GPIO_SPEED_FREQ_HIGH;
  HAL_GPIO_Init(VL53L0X_XSHUT_GPIO_Port, &GPIO_InitStruct);

  HAL_GPIO_WritePin(VL53L0X_XSHUT_GPIO_Port, VL53L0X_XSHUT_Pin, GPIO_PIN_SET);

  HAL_Delay(1000);
}
/* USER CODE END 4 */

void Error_Handler(void)
{
}

/************************ (C) COPYRIGHT STMicroelectronics *****END OF FILE****/
